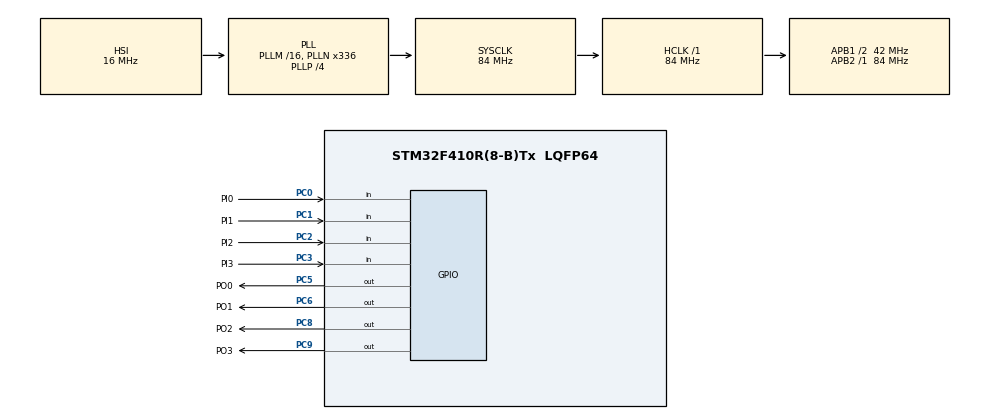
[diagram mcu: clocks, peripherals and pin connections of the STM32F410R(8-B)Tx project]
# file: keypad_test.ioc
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Mcu.Family=STM32F4
Mcu.Name=STM32F410R(8-B)Tx
Mcu.Package=LQFP64
NVIC.PriorityGroup=NVIC_PRIORITYGROUP_0
NVIC.TIM6_DAC_IRQn=true\:0\:0\:false\:false\:true
PC0.GPIO_Label=PI0
PC0.Signal=GPIO_Input
PC1.GPIO_Label=PI1
PC1.Signal=GPIO_Input
PC2.GPIO_Label=PI2
PC2.Signal=GPIO_Input
PC3.GPIO_Label=PI3
PC3.Signal=GPIO_Input
PC5.GPIO_Label=PO0
PC5.Signal=GPIO_Output
PC6.GPIO_Label=PO1
PC6.Signal=GPIO_Output
PC8.GPIO_Label=PO2
PC8.Signal=GPIO_Output
PC9.GPIO_Label=PO3
PC9.Signal=GPIO_Output
ProjectManager.HeapSize=0x200
ProjectManager.StackSize=0x400
ProjectManager.TargetToolchain=SW4STM32
RCC.48MHZClocksFreq_Value=84000000
RCC.AHBFreq_Value=84000000
RCC.APB1CLKDivider=RCC_HCLK_DIV2
RCC.APB1Freq_Value=42000000
RCC.APB1TimFreq_Value=84000000
RCC.APB2Freq_Value=84000000
RCC.APB2TimFreq_Value=84000000
RCC.CortexFreq_Value=84000000
RCC.FLatency-AdvancedSettings=FLASH_LATENCY_2
RCC.HCLKFreq_Value=84000000
RCC.HSE_VALUE=8000000
RCC.HSI_VALUE=16000000
RCC.LSE_VALUE=32768
RCC.PLLN=336
RCC.PLLP=RCC_PLLP_DIV4
RCC.SYSCLKFreq_VALUE=84000000
RCC.SYSCLKSource=RCC_SYSCLKSOURCE_PLLCLK
RCC.VCOOutputFreq_Value=336000000
TIM6.Period=999
TIM6.Prescaler=83
VP_TIM6_VS_ClockSourceINT.Mode=Enable_Timer
board=NUCLEO-F410RB

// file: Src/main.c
/**
  ******************************************************************************
  * File Name          : main.c
  * Description        : Main program body
  ******************************************************************************
  ** This notice applies to any and all portions of this file
  * that are not between comment pairs USER CODE BEGIN and
  * USER CODE END. Other portions of this file, whether
  * inserted by the user or by software development tools
  * are owned by their respective copyright owners.
  *
  * COPYRIGHT(c) 2018 STMicroelectronics
  *
  * Redistribution and use in source and binary forms, with or without modification,
  * are permitted provided that the following conditions are met:
  *   1. Redistributions of source code must retain the above copyright notice,
  *      this list of conditions and the following disclaimer.
  *   2. Redistributions in binary form must reproduce the above copyright notice,
  *      this list of conditions and the following disclaimer in the documentation
  *      and/or other materials provided with the distribution.
  *   3. Neither the name of STMicroelectronics nor the names of its contributors
  *      may be used to endorse or promote products derived from this software
  *      without specific prior written permission.
  *
  * THIS SOFTWARE IS PROVIDED BY THE COPYRIGHT HOLDERS AND CONTRIBUTORS "AS IS"
  * AND ANY EXPRESS OR IMPLIED WARRANTIES, INCLUDING, BUT NOT LIMITED TO, THE
  * IMPLIED WARRANTIES OF MERCHANTABILITY AND FITNESS FOR A PARTICULAR PURPOSE ARE
  * DISCLAIMED. IN NO EVENT SHALL THE COPYRIGHT HOLDER OR CONTRIBUTORS BE LIABLE
  * FOR ANY DIRECT, INDIRECT, INCIDENTAL, SPECIAL, EXEMPLARY, OR CONSEQUENTIAL
  * DAMAGES (INCLUDING, BUT NOT LIMITED TO, PROCUREMENT OF SUBSTITUTE GOODS OR
  * SERVICES; LOSS OF USE, DATA, OR PROFITS; OR BUSINESS INTERRUPTION) HOWEVER
  * CAUSED AND ON ANY THEORY OF LIABILITY, WHETHER IN CONTRACT, STRICT LIABILITY,
  * OR TORT (INCLUDING NEGLIGENCE OR OTHERWISE) ARISING IN ANY WAY OUT OF THE USE
  * OF THIS SOFTWARE, EVEN IF ADVISED OF THE POSSIBILITY OF SUCH DAMAGE.
  *
  ******************************************************************************
  */
#include "main.h"
#include "stm32f4xx_hal.h"

/* USER CODE BEGIN Includes */
#include "My_Keypad4x4.h"
#include <stdbool.h>
/* USER CODE END Includes */

TIM_HandleTypeDef htim6;

/* USER CODE BEGIN PV */
void HAL_TIM_PeriodElapsedCallback(TIM_HandleTypeDef *htim);
/* USER CODE END PV */

void SystemClock_Config(void);
static void MX_GPIO_Init(void);
static void MX_TIM6_Init(void);

/* USER CODE BEGIN PFP */
#define code_lenght 6
Keypad_WiresTypeDef keyPad_struct;
/* USER CODE END PFP */

/* USER CODE BEGIN 0 */
bool sw[16];
bool sw_flag[16];
bool key_down[16];
u_int8_t i=0;
u_int8_t k=0;
u_int8_t code_length=6;
char buffer[code_lenght];
char temp_buff0;
/* USER CODE END 0 */

int main(void)
{

  /* MCU Configuration----------------------------------------------------------*/

  /* Reset of all peripherals, Initializes the Flash interface and the Systick. */
  HAL_Init();

  /* Configure the system clock */
  SystemClock_Config();

  /* Initialize all configured peripherals */
  MX_GPIO_Init();
  MX_TIM6_Init();

  /* USER CODE BEGIN 2 */
  HAL_TIM_Base_Start_IT(&htim6);
  keyPad_struct.IN0_Port= GPIOC;
  keyPad_struct.IN1_Port= GPIOC;
  keyPad_struct.IN2_Port= GPIOC;
  keyPad_struct.IN3_Port= GPIOC;

  keyPad_struct.OUT0_Port= GPIOC;
  keyPad_struct.OUT1_Port= GPIOC;
  keyPad_struct.OUT2_Port= GPIOC;
  keyPad_struct.OUT3_Port= GPIOC;

  keyPad_struct.IN0pin = PI0_Pin;
  keyPad_struct.IN1pin = PI1_Pin;
  keyPad_struct.IN2pin = PI2_Pin;
  keyPad_struct.IN3pin = PI3_Pin;

  keyPad_struct.OUT0pin = PO0_Pin;
  keyPad_struct.OUT1pin = PO1_Pin;
  keyPad_struct.OUT2pin = PO2_Pin;
  keyPad_struct.OUT3pin = PO3_Pin;

//  Keypad4x4_ChangeColomn(1,&keyPad_struct);
  /* USER CODE END 2 */

  /* Infinite loop */
  while(1){

  /* USER CODE BEGIN 3 */
	 // Keypad4x4_ReadKeypad(&sw,&keyPad_struct);
	  /////////////////////////////////////////
	  if(k>code_lenght){
		  k=1;
		  temp_buff0=buffer[0];
		  memset(buffer,0,sizeof(buffer));
		  buffer[0]=temp_buff0;
	  }
	  for(i=0;i<16;i++){
		  if(sw[i] && sw_flag[i] == 0 ){
			  sw_flag[i]=1;
			  buffer[k]=Keypad4x4_GetChar(i);
			  k++;
		  }
		  else if (sw[i] == 0){
			  sw_flag[i]=0;
		  }

	  }

  }
  /* USER CODE END 3 */

}

/** System Clock Configuration
*/
void SystemClock_Config(void)
{

  RCC_OscInitTypeDef RCC_OscInitStruct;
  RCC_ClkInitTypeDef RCC_ClkInitStruct;

    /**Configure the main internal regulator output voltage
    */
  __HAL_RCC_PWR_CLK_ENABLE();

  __HAL_PWR_VOLTAGESCALING_CONFIG(PWR_REGULATOR_VOLTAGE_SCALE1);

    /**Initializes the CPU, AHB and APB busses clocks
    */
  RCC_OscInitStruct.OscillatorType = RCC_OSCILLATORTYPE_HSI;
  RCC_OscInitStruct.HSIState = RCC_HSI_ON;
  RCC_OscInitStruct.HSICalibrationValue = 16;
  RCC_OscInitStruct.PLL.PLLState = RCC_PLL_ON;
  RCC_OscInitStruct.PLL.PLLSource = RCC_PLLSOURCE_HSI;
  RCC_OscInitStruct.PLL.PLLM = 16;
  RCC_OscInitStruct.PLL.PLLN = 336;
  RCC_OscInitStruct.PLL.PLLP = RCC_PLLP_DIV4;
  RCC_OscInitStruct.PLL.PLLQ = 4;
  RCC_OscInitStruct.PLL.PLLR = 2;
  if (HAL_RCC_OscConfig(&RCC_OscInitStruct) != HAL_OK)
  {
    _Error_Handler(__FILE__, __LINE__);
  }

    /**Initializes the CPU, AHB and APB busses clocks
    */
  RCC_ClkInitStruct.ClockType = RCC_CLOCKTYPE_HCLK|RCC_CLOCKTYPE_SYSCLK
                              |RCC_CLOCKTYPE_PCLK1|RCC_CLOCKTYPE_PCLK2;
  RCC_ClkInitStruct.SYSCLKSource = RCC_SYSCLKSOURCE_PLLCLK;
  RCC_ClkInitStruct.AHBCLKDivider = RCC_SYSCLK_DIV1;
  RCC_ClkInitStruct.APB1CLKDivider = RCC_HCLK_DIV2;
  RCC_ClkInitStruct.APB2CLKDivider = RCC_HCLK_DIV1;

  if (HAL_RCC_ClockConfig(&RCC_ClkInitStruct, FLASH_LATENCY_2) != HAL_OK)
  {
    _Error_Handler(__FILE__, __LINE__);
  }

    /**Configure the Systick interrupt time
    */
  HAL_SYSTICK_Config(HAL_RCC_GetHCLKFreq()/1000);

    /**Configure the Systick
    */
  HAL_SYSTICK_CLKSourceConfig(SYSTICK_CLKSOURCE_HCLK);

  /* SysTick_IRQn interrupt configuration */
  HAL_NVIC_SetPriority(SysTick_IRQn, 0, 0);
}

/* TIM6 init function */
static void MX_TIM6_Init(void)
{

  TIM_MasterConfigTypeDef sMasterConfig;

  htim6.Instance = TIM6;
  htim6.Init.Prescaler = 83;
  htim6.Init.CounterMode = TIM_COUNTERMODE_UP;
  htim6.Init.Period = 999;
  if (HAL_TIM_Base_Init(&htim6) != HAL_OK)
  {
    _Error_Handler(__FILE__, __LINE__);
  }

  sMasterConfig.MasterOutputTrigger = TIM_TRGO_RESET;
  sMasterConfig.MasterSlaveMode = TIM_MASTERSLAVEMODE_DISABLE;
  if (HAL_TIMEx_MasterConfigSynchronization(&htim6, &sMasterConfig) != HAL_OK)
  {
    _Error_Handler(__FILE__, __LINE__);
  }

}

/** Configure pins as
        * Analog
        * Input
        * Output
        * EVENT_OUT
        * EXTI
*/
static void MX_GPIO_Init(void)
{

  GPIO_InitTypeDef GPIO_InitStruct;

  /* GPIO Ports Clock Enable */
  __HAL_RCC_GPIOC_CLK_ENABLE();

  /*Configure GPIO pin Output Level */
  HAL_GPIO_WritePin(GPIOC, PO0_Pin|PO1_Pin|PO2_Pin|PO3_Pin, GPIO_PIN_RESET);

  /*Configure GPIO pins : PI0_Pin PI1_Pin PI2_Pin PI3_Pin */
  GPIO_InitStruct.Pin = PI0_Pin|PI1_Pin|PI2_Pin|PI3_Pin;
  GPIO_InitStruct.Mode = GPIO_MODE_INPUT;
  GPIO_InitStruct.Pull = GPIO_NOPULL;
  HAL_GPIO_Init(GPIOC, &GPIO_InitStruct);

  /*Configure GPIO pins : PO0_Pin PO1_Pin PO2_Pin PO3_Pin */
  GPIO_InitStruct.Pin = PO0_Pin|PO1_Pin|PO2_Pin|PO3_Pin;
  GPIO_InitStruct.Mode = GPIO_MODE_OUTPUT_PP;
  GPIO_InitStruct.Pull = GPIO_NOPULL;
  GPIO_InitStruct.Speed = GPIO_SPEED_FREQ_LOW;
  HAL_GPIO_Init(GPIOC, &GPIO_InitStruct);

}

/* USER CODE BEGIN 4 */
void keypad_init(Keypad_WiresTypeDef *keyPad_struct){
 /*
	  keyPad_struct->IN0_Port= GPIOC;
	  keyPad_struct->IN1_Port= GPIOC;
	  keyPad_struct->IN2_Port= GPIOC;
	  keyPad_struct->IN3_Port= GPIOC;

	  keyPad_struct->OUT0_Port= GPIOC;
	  keyPad_struct->OUT1_Port= GPIOC;
	  keyPad_struct->OUT2_Port= GPIOC;
	  keyPad_struct->OUT3_Port= GPIOC;

	  keyPad_struct->IN0pin = PI0_Pin;
	  keyPad_struct->IN1pin = PI1_Pin;
	  keyPad_struct->IN2pin = PI2_Pin;
	  keyPad_struct->IN3pin = PI3_Pin;

	  keyPad_struct->OUT0pin = PO0_Pin;
	  keyPad_struct->OUT1pin = PO1_Pin;
	  keyPad_struct->OUT2pin = PO2_Pin;
	  keyPad_struct->OUT3pin = PO3_Pin;

	   Keypad4x4_Init(&keyPad_struct);
	   */
	HAL_GPIO_WritePin(keyPad_struct->OUT0_Port,keyPad_struct->OUT0pin,1);
	HAL_GPIO_WritePin(keyPad_struct->OUT2_Port,keyPad_struct->OUT2pin,1);

}

/*
 void Keypad4x4_ChangeColomn(uint8_t colNum_0_to_3,Keypad_WiresTypeDef *KeypadStruct)
{
	if(colNum_0_to_3==0)
	{
		//Set selected colomn
		HAL_GPIO_WritePin(KeypadStruct->OUT0_Port,KeypadStruct->OUT0pin,1);

		//Make other colomns floating
		HAL_GPIO_WritePin(KeypadStruct->OUT1_Port,KeypadStruct->OUT1pin,0);
		HAL_GPIO_WritePin(KeypadStruct->OUT2_Port,KeypadStruct->OUT2pin,0);
		HAL_GPIO_WritePin(KeypadStruct->OUT3_Port,KeypadStruct->OUT3pin,0);
	}
	else if(colNum_0_to_3==1)
	{
		//Set selected colomn
		HAL_GPIO_WritePin(KeypadStruct->OUT1_Port,KeypadStruct->OUT1pin,1);

		//Make other colomns floating
		HAL_GPIO_WritePin(KeypadStruct->OUT0_Port,KeypadStruct->OUT0pin,0);
		HAL_GPIO_WritePin(KeypadStruct->OUT2_Port,KeypadStruct->OUT2pin,0);
		HAL_GPIO_WritePin(KeypadStruct->OUT3_Port,KeypadStruct->OUT3pin,0);
	}
	else if(colNum_0_to_3==2)
	{
		//Set selected colomn
		HAL_GPIO_WritePin(KeypadStruct->OUT2_Port,KeypadStruct->OUT2pin,1);

		//Make other colomns floating
		HAL_GPIO_WritePin(KeypadStruct->OUT0_Port,KeypadStruct->OUT0pin,0);
		HAL_GPIO_WritePin(KeypadStruct->OUT1_Port,KeypadStruct->OUT1pin,0);
		HAL_GPIO_WritePin(KeypadStruct->OUT3_Port,KeypadStruct->OUT3pin,0);
	}
	else if(colNum_0_to_3==3)
	{
		//Set selected colomn
		//Set selected colomn
		HAL_GPIO_WritePin(KeypadStruct->OUT3_Port,KeypadStruct->OUT3pin,1);

		//Make other colomns floating
		HAL_GPIO_WritePin(KeypadStruct->OUT1_Port,KeypadStruct->OUT1pin,0);
		HAL_GPIO_WritePin(KeypadStruct->OUT2_Port,KeypadStruct->OUT2pin,0);
		HAL_GPIO_WritePin(KeypadStruct->OUT0_Port,KeypadStruct->OUT0pin,0);
	}
}

//Function(4): Read active keypad button
void Keypad4x4_ReadKeypad(bool keys[16],Keypad_WiresTypeDef *KeypadStruct)
{
	//Step(1): Make Col0 High and check the rows
	Keypad4x4_ChangeColomn(0,KeypadStruct);
	keys[0] = HAL_GPIO_ReadPin(KeypadStruct->IN0_Port, KeypadStruct->IN0pin);
	keys[4] = HAL_GPIO_ReadPin(KeypadStruct->IN1_Port, KeypadStruct->IN1pin);
	keys[8] = HAL_GPIO_ReadPin(KeypadStruct->IN2_Port, KeypadStruct->IN2pin);
	keys[12] = HAL_GPIO_ReadPin(KeypadStruct->IN3_Port, KeypadStruct->IN3pin);

	//Step(2): Make Col1 High and check the rows
	Keypad4x4_ChangeColomn(1,KeypadStruct);
	keys[1] = HAL_GPIO_ReadPin(KeypadStruct->IN0_Port, KeypadStruct->IN0pin);
	keys[5] = HAL_GPIO_ReadPin(KeypadStruct->IN1_Port, KeypadStruct->IN1pin);
	keys[9] = HAL_GPIO_ReadPin(KeypadStruct->IN2_Port, KeypadStruct->IN2pin);
	keys[13] = HAL_GPIO_ReadPin(KeypadStruct->IN3_Port, KeypadStruct->IN3pin);

	//Step(3): Make Col2 High and check the rows
	Keypad4x4_ChangeColomn(2,KeypadStruct);
	keys[2] = HAL_GPIO_ReadPin(KeypadStruct->IN0_Port, KeypadStruct->IN0pin);
	keys[6] = HAL_GPIO_ReadPin(KeypadStruct->IN1_Port, KeypadStruct->IN1pin);
	keys[10] = HAL_GPIO_ReadPin(KeypadStruct->IN2_Port, KeypadStruct->IN2pin);
	keys[14] = HAL_GPIO_ReadPin(KeypadStruct->IN3_Port, KeypadStruct->IN3pin);

	//Step(4): Make Col3 High and check the rows
	Keypad4x4_ChangeColomn(3,KeypadStruct);
	keys[3] = HAL_GPIO_ReadPin(KeypadStruct->IN0_Port, KeypadStruct->IN0pin);
	keys[7] = HAL_GPIO_ReadPin(KeypadStruct->IN1_Port, KeypadStruct->IN1pin);
	keys[11] = HAL_GPIO_ReadPin(KeypadStruct->IN2_Port, KeypadStruct->IN2pin);
	keys[15] = HAL_GPIO_ReadPin(KeypadStruct->IN3_Port, KeypadStruct->IN3pin);
}*/
void HAL_TIM_PeriodElapsedCallback(TIM_HandleTypeDef *htim){
	Keypad4x4_ReadKeypad(&sw,&keyPad_struct);
}
/* USER CODE END 4 */

void _Error_Handler(char * file, int line)
{
}

/************************ (C) COPYRIGHT STMicroelectronics *****END OF FILE****/
